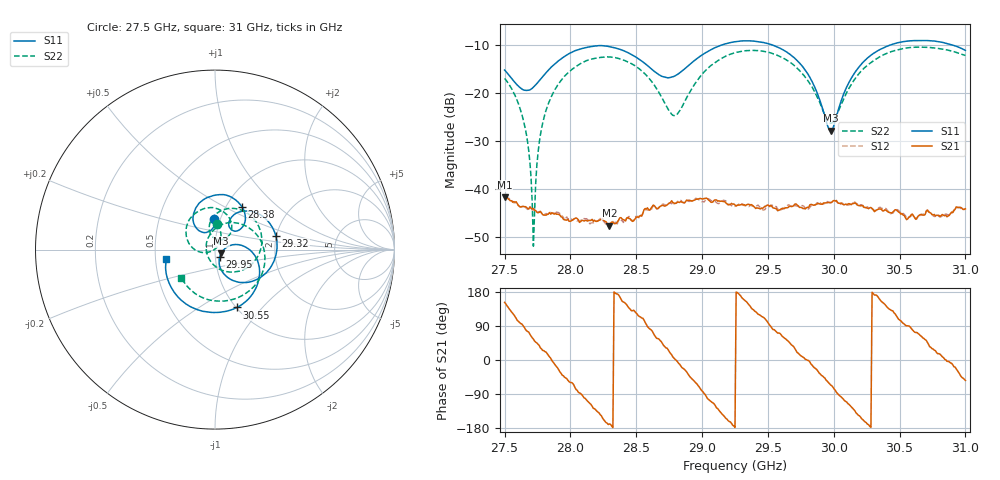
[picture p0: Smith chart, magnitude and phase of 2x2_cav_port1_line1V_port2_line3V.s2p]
!Created with skrf (http://scikit-rf.org).
# GHz S RI R 50.0
!freq ReS11 ImS11 ReS21 ImS21 ReS12 ImS12 ReS22 ImS22
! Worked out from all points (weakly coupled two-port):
!   401 points, 27.5 GHz to 31 GHz, reference 50 ohm
!   highest |S21| = -41.70 dB at 27.5 GHz (marker M1); lowest = -47.5 dB at 28.3 GHz (marker M2)
!   lowest |S11| = -27.9 dB at 29.98 GHz (marker M3), VSWR 1.08, Z = 53.6 - j2.18 ohm
!   |S11| at or under -10 dB: start of sweep to 29.15 GHz; 29.53 GHz to 30.44 GHz (906 MHz wide, 3.02 % of centre); 30.89547 GHz to end of sweep
!   |S22| runs from -51.8 to -10.5 dB; largest |S21 - S12| = 0.00078
!   S11 on the Smith chart (normalised r, x): 27.5 GHz: 0.94, +0.33; 28.38 GHz: 1.19, +0.61; 29.32 GHz: 1.98, +0.34; 29.95 GHz: 1.05, -0.08; 30.55 GHz: 1.01, -0.74; 31 GHz: 0.57, -0.07
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27.5  -0.00366 0.1728  -0.00726 0.00385  -0.00739 0.00365  0.00894 0.1413
27.64875  -0.0304 0.1025  0.000371 0.00659  0.000618 0.00661  0.0268 0.0397
27.71875  -0.0637 0.0953  0.00361 0.00517  0.00354 0.00495  -0.000532 0.00251
27.77125  -0.0888 0.1054  0.00498 0.00314  0.00484 0.00327  -0.0338 -0.0134
27.82375  -0.1091 0.127  0.00524 0.00156  0.00533 0.00138  -0.0699 -0.0162
28.08625  -0.0561 0.2832  -0.000112 -0.00476  1.19e-06 -0.0049  -0.1579 0.1309
28.29625  0.1044 0.284  -0.00412 -0.000832  -0.0042 -0.00089  -0.0383 0.2334
28.38375  0.151 0.2372  -0.00479 0.00167  -0.00443 0.00146  0.0251 0.2225
28.6725  0.1155 0.1024  0.00369 0.00528  0.00368 0.00533  0.0716 0.0712
28.80375  0.0777 0.1318  0.00718 -0.000112  0.00715 6.87e-05  0.00732 0.0585
29.0225  0.1481 0.213  -0.000115 -0.00802  0.000246 -0.00763  -0.0201 0.168
29.25  0.3106 0.138  -0.00685 -0.000229  -0.00662 -0.000592  0.1351 0.2241
29.32  0.3388 0.0764  -0.00643 0.00251  -0.00621 0.00271  0.1918 0.1945
29.62625  0.2113 -0.1752  0.00338 0.00533  0.00336 0.00549  0.2147 -0.071
29.83625  0.0411 -0.1239  0.00672 -0.00165  0.00671 -0.00149  0.0282 -0.1112
29.95  0.0268 -0.0384  0.0041 -0.00597  0.00435 -0.00605  -0.0412 -0.0324
29.97625  0.035 -0.0203  0.00295 -0.00661  0.00304 -0.00663  -0.0476 -0.00859
30.16875  0.1685 0.0151  -0.00537 -0.00465  -0.00538 -0.0047  0.0384 0.1399
30.4225  0.2291 -0.2116  -0.00399 0.00411  -0.00379 0.00411  0.2616 0.0351
30.55375  0.1221 -0.3222  -5.72e-06 0.00483  -4.48e-05 0.00501  0.267 -0.1193
30.78125  -0.1615 -0.303  0.00507 0.00179  0.00486 0.00178  0.051 -0.2865
31  -0.2712 -0.0539  0.00368 -0.00507  0.00381 -0.00489  -0.1868 -0.1582
